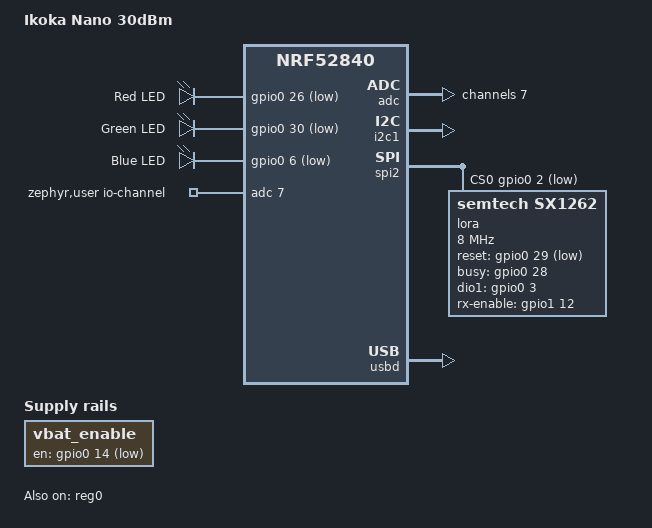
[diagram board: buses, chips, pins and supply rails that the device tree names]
/*
 * SPDX-License-Identifier: MIT
 * Ikoka Nano 30dBm - XIAO nRF52840 + E22-900M30S LoRa module
 *
 * E22-900M30S LoRa Module:
 * - SX1262 with integrated 30dBm PA
 * - RXEN (P1.12/D7) control: HIGH for RX, LOW for TX
 * - Input power limited to 20dBm (30dBm output)
 * - DIO2 as RF switch, TCXO 1.8V
 *
 * Pin Mapping (XIAO D-pins to nRF52840 GPIOs):
 * - D0  = P0.02 (NSS)      - D4 = P0.04 (SDA)   - D8  = P1.13 (SCK)
 * - D1  = P0.03 (DIO1)     - D5 = P0.05 (SCL)   - D9  = P1.14 (MISO)
 * - D2  = P0.28 (BUSY)     - D6 = P1.11 (TX)    - D10 = P1.15 (MOSI)
 * - D3  = P0.29 (RESET)    - D7 = P1.12 (RXEN)
 *
 * Battery: P0.31/AIN7 with enable on P0.14
 * LEDs: RED=P0.26/D11, BLUE=P0.06/D12, GREEN=P0.30/D13
 */

/dts-v1/;
#include <nordic/nrf52840_qiaa.dtsi>
#include "ikoka_nano_30dbm-pinctrl.dtsi"
#include <zephyr/dt-bindings/adc/nrf-saadc.h>
#include <zephyr/dt-bindings/lora/sx126x.h>

/ {
	model = "Ikoka Nano 30dBm";
	compatible = "ikoka,nano-30dbm";

	chosen {
		zephyr,sram = &sram0;
		zephyr,flash = &flash0;
		zephyr,code-partition = &code_partition;
		zephyr,console = &cdc_acm_uart;
		zephyr,shell-uart = &cdc_acm_uart;
	};

	aliases {
		lora0 = &lora;
		led0 = &led_red;
		led1 = &led_green;
		led2 = &led_blue;
		watchdog0 = &wdt0;
	};

	/* Status LEDs - active LOW on XIAO */
	leds {
		compatible = "gpio-leds";
		led_red: led_0 {
			gpios = <&gpio0 26 GPIO_ACTIVE_LOW>;
			label = "Red LED";
		};
		led_green: led_1 {
			gpios = <&gpio0 30 GPIO_ACTIVE_LOW>;
			label = "Green LED";
		};
		led_blue: led_2 {
			gpios = <&gpio0 6 GPIO_ACTIVE_LOW>;
			label = "Blue LED";
		};
	};

	/* Battery ADC enable - P0.14 must be LOW to read battery */
	vbat_enable: vbat-enable {
		compatible = "regulator-fixed";
		regulator-name = "vbat-enable";
		enable-gpios = <&gpio0 14 GPIO_ACTIVE_LOW>;
		regulator-boot-on;
	};

	/* Battery ADC channel */
	zephyr,user {
		io-channels = <&adc 7>;
		vbat-mv-multiplier = <10709>;  /* 2.96:1 divider, 3.6V ref; +0.5% for nRF SAADC gain error */
	};
};

&reg0 {
	status = "okay";
};

&reg1 {
	regulator-initial-mode = <NRF5X_REG_MODE_DCDC>;
};

&adc {
	status = "okay";
	#address-cells = <1>;
	#size-cells = <0>;

	channel@7 {
		reg = <7>;
		zephyr,gain = "ADC_GAIN_1_6";
		zephyr,reference = "ADC_REF_INTERNAL";
		zephyr,acquisition-time = <ADC_ACQ_TIME(ADC_ACQ_TIME_MICROSECONDS, 10)>;
		zephyr,input-positive = <NRF_SAADC_AIN7>;
		zephyr,resolution = <12>;
	};
};

&uicr {
	gpio-as-nreset;
};

&gpiote {
	status = "okay";
};

&gpio0 {
	status = "okay";
};

&gpio1 {
	status = "okay";
};

/* I2C1 on D4/D5 for external sensors */
&i2c1 {
	compatible = "nordic,nrf-twi";
	status = "okay";
	pinctrl-0 = <&i2c1_default>;
	pinctrl-1 = <&i2c1_sleep>;
	pinctrl-names = "default", "sleep";

	/* All supported environment & power sensors — auto-detected at runtime */
	#include "../../common/sensors-i2c.dtsi"
};

/* SPI2 for LoRa module */
&spi2 {
	compatible = "nordic,nrf-spi";
	status = "okay";
	pinctrl-0 = <&spi2_default>;
	pinctrl-1 = <&spi2_sleep>;
	pinctrl-names = "default", "sleep";
	cs-gpios = <&gpio0 2 GPIO_ACTIVE_LOW>;  /* D0 = P0.02 NSS */

	lora: lora@0 {
		compatible = "semtech,sx1262";
		reg = <0>;
		spi-max-frequency = <8000000>;

		/* LoRa control pins */
		reset-gpios = <&gpio0 29 GPIO_ACTIVE_LOW>;   /* D3 = P0.29 */
		busy-gpios = <&gpio0 28 GPIO_ACTIVE_HIGH>;   /* D2 = P0.28 */
		dio1-gpios = <&gpio0 3 (GPIO_PULL_DOWN | GPIO_ACTIVE_HIGH)>;  /* D1 = P0.03 */

		/* E22-900M30S PA control */
		rx-enable-gpios = <&gpio1 12 GPIO_ACTIVE_HIGH>;  /* D7 = P1.12 RXEN */

		/* Use DIO2 to drive TX enable on RF switch */
		dio2-tx-enable;

		/* TCXO voltage 1.8V */
		dio3-tcxo-voltage = <SX126X_DIO3_TCXO_1V8>;
		tcxo-power-startup-delay-ms = <10>;

		/* Enable RX boosted mode for better sensitivity */
		rx-boosted;
	};
};

/* QSPI Flash - P25Q16H (2MB) on XIAO nRF52840
 * Disabled: Flash chip appears damaged or locked on this unit.
 * Re-enable with status = "okay" if working QSPI flash is needed. */
&qspi {
	status = "disabled";
};

/* USB CDC for console/CLI */
zephyr_udc0: &usbd {
	compatible = "nordic,nrf-usbd";
	status = "okay";

	cdc_acm_uart: cdc_acm_uart {
		compatible = "zephyr,cdc-acm-uart";
	};
};

/* Arduino MeshCore compatible partition layout (SoftDevice v7) */
#include "../../common/nrf52_partitions_sdv7.dtsi"
